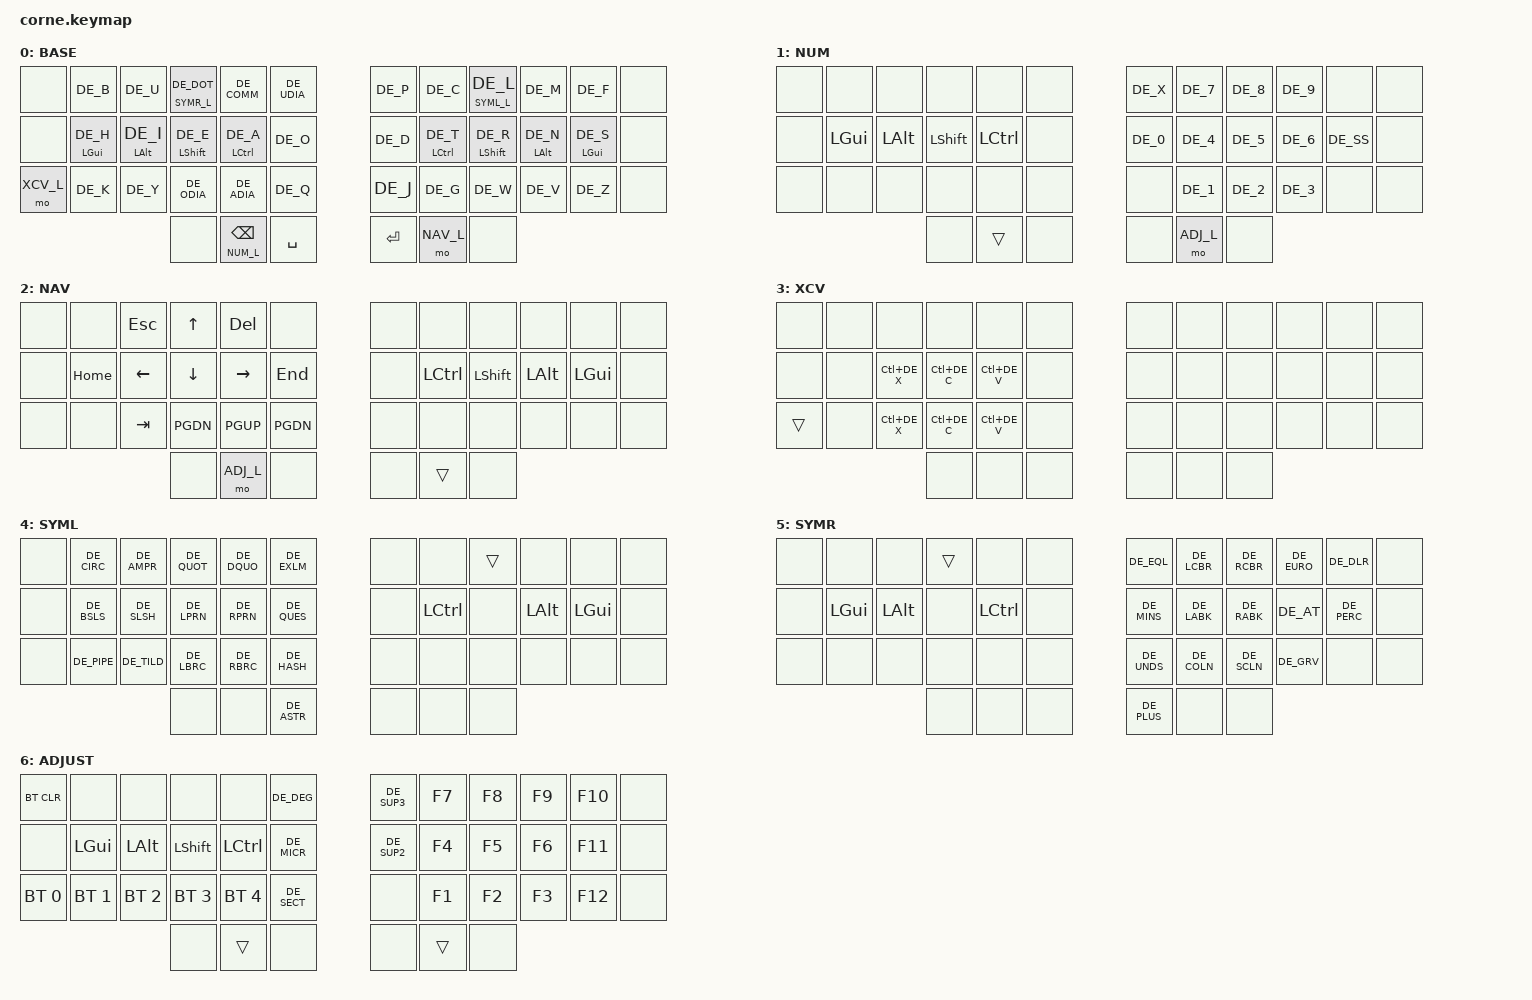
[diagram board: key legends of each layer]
/*
 * Copyright (c) 2022 Jan Titze
 *
 * SPDX-License-Identifier: MIT
 */

#include <behaviors.dtsi>
#include <dt-bindings/zmk/keys.h>
#include <dt-bindings/zmk/bt.h>

#include "./international/codes_german.h"

// Defines for readability
#define _______ &trans
#define XXXXXXX &none

// Defines for layers
#define BASE_L  0 //_BASE,
#define NUM_L   1 //_NUMBERS,
#define NAV_L   2 //_NAVIGATION
#define XCV_L   3 //_XCV
#define SYML_L  4 //_SYMBOLS Lefthand
#define SYMR_L  5 //_SYMBOLS Righthand
#define ADJ_L   6 //_ADJUST

// Defines for keypositions to enhance readability of combos
#define INDEX_L     16
#define MIDDLE_L    15
#define RING_L      14
#define PINKY_L     13
#define INDEX_R     19
#define MIDDLE_R    20
#define RING_R      21
#define PINKY_R     22

#define THUMB_1     37
#define THUMB_2     38
#define THUMB_3     39
#define THUMB_4     40

#define RIGHTSIDE_KEYS   <6 7 8 9 10 11 18 19 20 21 22 23 30 31 32 33 34 35 39 40 41>
#define LEFTSIDE_KEYS	 <0 1 2 3 4 5 12 13 14 15 16 17 24 25 26 27 28 29 36 37 38>


/*   42 KEY MATRIX / LAYOUT MAPPING
    ╭─────────────────────────┬────────────────────────╮
    │  0   1   2   3   4   5  │  6   7   8   9  10  11 │
    │ 12  13  14  15  16  17  │ 18  19  20  21  22  23 │
    │ 24  25  26  27  28  29  │ 30  31  32  33  34  35 │
    ╰───────────╮ 36  37  38  │ 39  40  41 ╭───────────╯
                ╰─────────────┴────────────╯             */

// Using layer taps on thumbs, having quick tap as well helps w/ repeating space/backspace
&lt { 
    quick_tap_ms = <200>; 
    tapping-term-ms = <230>;
    flavor = "tap-preferred";
};

&sk {
    release-after-ms = <2000>;
    quick-release;
    /delete-property/ ignore-modifiers;
};

&mt {
    tapping-term-ms = <200>;
};

/ {
    combos {
    	compatible = "zmk,combos";
    
        // &caps_word on shift keys
        combo_caps_word { 
           timeout-ms = <60>;
           key-positions = <MIDDLE_L MIDDLE_R>;
           bindings = <&caps_word>;
           require-prior-idle-ms = <200>;
        };
    };

    behaviors {
        // https://zmk.dev/docs/behaviors/hold-tap#positional-hold-tap-and-hold-trigger-key-positions 
        // require-prior-idle-md = modifier kommen nur, wenn vorher eine kurze Pause ist.

        lts: layer_tap_with_long_idle { // layer tap instant
            compatible = "zmk,behavior-hold-tap";
            #binding-cells = <2>;
            flavor = "tap-preferred"; // 'hold-preferred', 'balanced', 'tap-preferred'
            tapping-term-ms = <300>;
            quick-tap-ms = <200>;
            require-prior-idle-ms = <350>;
            bindings = <&mo>, <&kp>;
        };
        mtl: positional_mod_tap_left {
            compatible = "zmk,behavior-hold-tap";
            #binding-cells = <2>;
            flavor = "balanced"; // 'hold-preferred', 'balanced', 'tap-preferred'
            tapping-term-ms = <230>;
            quick-tap-ms = <200>;
            require-prior-idle-ms = <120>;
            bindings = <&mo>, <&kp>;
            hold-trigger-key-positions = RIGHTSIDE_KEYS;    // <---[[the righthand keys]]
        };
        mtr: positional_mod_tap_right {
            compatible = "zmk,behavior-hold-tap";
            #binding-cells = <2>;
            flavor = "balanced"; // 'hold-preferred', 'balanced', 'tap-preferred'
            tapping-term-ms = <230>;
            quick-tap-ms = <200>;
            require-prior-idle-ms = <120>;
            bindings = <&mo>, <&kp>;
            hold-trigger-key-positions = LEFTSIDE_KEYS;    // <---[[the lefthand keys]]
        };
        hml: positional_home_row_left {
            compatible = "zmk,behavior-hold-tap";
            #binding-cells = <2>;
            flavor = "balanced"; // 'hold-preferred', 'balanced', 'tap-preferred'
            tapping-term-ms = <230>;
            quick-tap-ms = <200>;
            require-prior-idle-ms = <120>;
            bindings = <&kp>, <&kp>;
            hold-trigger-key-positions = RIGHTSIDE_KEYS;    // <---[[the righthand keys]]
        };
        hmr: positional_home_row_right {
            compatible = "zmk,behavior-hold-tap";
            #binding-cells = <2>;
            flavor = "balanced"; // 'hold-preferred', 'balanced', 'tap-preferred'
            tapping-term-ms = <230>;
            quick-tap-ms = <200>;
            require-prior-idle-ms = <120>;
            bindings = <&kp>, <&kp>;
            hold-trigger-key-positions = LEFTSIDE_KEYS;    // <---[[the lefthand keys]]
        };
        shl: slow_positional_home_row_left {
            compatible = "zmk,behavior-hold-tap";
            #binding-cells = <2>;
            flavor = "tap-preferred"; // 'hold-preferred', 'balanced', 'tap-preferred'
            tapping-term-ms = <250>;
            quick-tap-ms = <250>;
            require-prior-idle-ms = <120>;
            bindings = <&kp>, <&kp>;
            hold-trigger-key-positions = RIGHTSIDE_KEYS;    // <---[[the righthand keys]]
        };
        shr: slow_positional_home_row_right {
            compatible = "zmk,behavior-hold-tap";
            #binding-cells = <2>;
            flavor = "tap-preferred"; // 'hold-preferred', 'balanced', 'tap-preferred'
            tapping-term-ms = <250>;
            quick-tap-ms = <250>;
            require-prior-idle-ms = <120>;
            bindings = <&kp>, <&kp>;
            hold-trigger-key-positions = LEFTSIDE_KEYS;    // <---[[the lefthand keys]]
        };
    };

    keymap {
        compatible = "zmk,keymap";

        default_layer {
            label = "BASE";
            bindings = <
                XXXXXXX   &kp DE_B        &kp DE_U        &mtl SYMR_L DE_DOT  &kp DE_COMM      &kp DE_UDIA    &kp DE_P         &kp DE_C        &mtr SYML_L DE_L &kp DE_M        &kp DE_F   XXXXXXX
                XXXXXXX   &shl LGUI  DE_H &hml LALT DE_I  &hml LSHFT DE_E     &hml LCTRL DE_A  &kp DE_O       &kp DE_D         &hmr LCTRL DE_T &hmr LSHFT DE_R  &hmr LALT DE_N  &shr LGUI DE_S   XXXXXXX
                &mo XCV_L &kp DE_K				&kp DE_Y        &kp DE_ODIA         &kp DE_ADIA      &kp DE_Q       &kp DE_J         &kp DE_G        &kp DE_W         &kp DE_V        &kp DE_Z   XXXXXXX
                                                          XXXXXXX             &lt NUM_L BSPC   &kp SPC        &kp ENTER        &mo NAV_L       XXXXXXX
            >;
        };

        num_layer {
            label = "NUM";
            bindings = <
                XXXXXXX   XXXXXXX       XXXXXXX      XXXXXXX        XXXXXXX    XXXXXXX       &kp DE_X         &kp DE_7      &kp DE_8        &kp DE_9    XXXXXXX       XXXXXXX
                XXXXXXX   &kp LGUI      &kp LALT     &kp LSHFT      &kp LCTRL  XXXXXXX       &kp DE_0         &kp DE_4      &kp DE_5        &kp DE_6    &kp DE_SS     XXXXXXX
                XXXXXXX   XXXXXXX       XXXXXXX      XXXXXXX        XXXXXXX    XXXXXXX       XXXXXXX          &kp DE_1      &kp DE_2        &kp DE_3    XXXXXXX       XXXXXXX
                                                     XXXXXXX        _______    XXXXXXX       XXXXXXX          &mo ADJ_L       XXXXXXX
            >;
        };

        nav_layer {
        	label = "NAV";
            bindings = <
                XXXXXXX    XXXXXXX    &kp ESC    &kp UP         &kp DEL        XXXXXXX        XXXXXXX       XXXXXXX      XXXXXXX        XXXXXXX    XXXXXXX	  XXXXXXX 
                XXXXXXX    &kp HOME   &kp LEFT   &kp DOWN       &kp RIGHT      &kp END        XXXXXXX       &kp LCTRL    &kp LSHFT      &kp LALT   &kp LGUI   XXXXXXX
                XXXXXXX    XXXXXXX    &kp TAB    &kp PGDN       &kp PGUP       &kp PGDN       XXXXXXX       XXXXXXX      XXXXXXX        XXXXXXX    XXXXXXX    XXXXXXX
                                                 XXXXXXX        &mo ADJ_L      XXXXXXX        XXXXXXX       _______      XXXXXXX
            >;
        };

        xcv_layer {
            label = "XCV";
            bindings = <
                XXXXXXX   XXXXXXX   XXXXXXX      XXXXXXX      XXXXXXX        XXXXXXX        XXXXXXX        XXXXXXX       XXXXXXX         XXXXXXX      XXXXXXX    XXXXXXX
                XXXXXXX   XXXXXXX   &kp LC(DE_X) &kp LC(DE_C) &kp LC(DE_V)   XXXXXXX        XXXXXXX        XXXXXXX       XXXXXXX         XXXXXXX      XXXXXXX    XXXXXXX
                _______   XXXXXXX   &kp LC(DE_X) &kp LC(DE_C) &kp LC(DE_V)   XXXXXXX        XXXXXXX        XXXXXXX       XXXXXXX         XXXXXXX      XXXXXXX    XXXXXXX
                                                 XXXXXXX      XXXXXXX        XXXXXXX        XXXXXXX        XXXXXXX       XXXXXXX
            >;
        };

        sym_layer {
            label = "SYML";
            bindings = <
                XXXXXXX  &kp DE_CIRC &kp DE_AMPR &kp DE_QUOT &kp DE_DQUO &kp DE_EXLM     XXXXXXX       XXXXXXX      _______        XXXXXXX    XXXXXXX   XXXXXXX
                XXXXXXX  &kp DE_BSLS &kp DE_SLSH &kp DE_LPRN &kp DE_RPRN &kp DE_QUES     XXXXXXX       &kp LCTRL    XXXXXXX        &kp LALT   &kp LGUI  XXXXXXX
                XXXXXXX  &kp DE_PIPE &kp DE_TILD &kp DE_LBRC &kp DE_RBRC &kp DE_HASH     XXXXXXX       XXXXXXX      XXXXXXX        XXXXXXX    XXXXXXX   XXXXXXX
                                                 XXXXXXX     XXXXXXX     &kp DE_ASTR     XXXXXXX	   XXXXXXX      XXXXXXX  
            >;
        };

        symr_layer {
            label = "SYMR";
            bindings = <
                XXXXXXX  XXXXXXX       XXXXXXX      _______        XXXXXXX    XXXXXXX       &kp DE_EQL   &kp DE_LCBR  &kp DE_RCBR  &kp DE_EURO  &kp DE_DLR   XXXXXXX
                XXXXXXX  &kp LGUI      &kp LALT     XXXXXXX        &kp LCTRL  XXXXXXX       &kp DE_MINS  &kp DE_LABK  &kp DE_RABK  &kp DE_AT    &kp DE_PERC  XXXXXXX
                XXXXXXX  XXXXXXX       XXXXXXX      XXXXXXX        XXXXXXX    XXXXXXX       &kp DE_UNDS  &kp DE_COLN  &kp DE_SCLN  &kp DE_GRV   XXXXXXX	     XXXXXXX
                                                    XXXXXXX        XXXXXXX    XXXXXXX       &kp DE_PLUS  XXXXXXX      XXXXXXX  
            >;
        };

        adj_layer {
            label = "ADJUST";
            bindings = <
                &bt BT_CLR 	 XXXXXXX      XXXXXXX      XXXXXXX      XXXXXXX      &kp DE_DEG      &kp DE_SUP3   &kp F7        &kp F8          &kp F9       &kp F10   XXXXXXX
                XXXXXXX      &kp LGUI     &kp LALT     &kp LSHFT    &kp LCTRL    &kp DE_MICR     &kp DE_SUP2   &kp F4        &kp F5          &kp F6       &kp F11   XXXXXXX
                &bt BT_SEL 0 &bt BT_SEL 1 &bt BT_SEL 2 &bt BT_SEL 3 &bt BT_SEL 4 &kp DE_SECT     XXXXXXX       &kp F1        &kp F2          &kp F3       &kp F12   XXXXXXX
                                                       XXXXXXX      _______      XXXXXXX         XXXXXXX       _______       XXXXXXX
            >;
        };
    };
};
